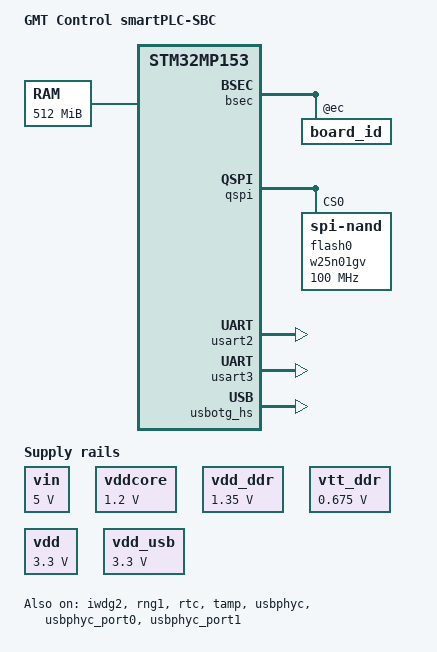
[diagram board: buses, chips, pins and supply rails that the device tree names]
/* SPDX-License-Identifier: (GPL-2.0+ OR BSD-3-Clause) */
/*
 * Copyright (C) STMicroelectronics 2020 - All Rights Reserved
 * Author: STM32CubeMX code generation for STMicroelectronics.
 */

/* For more information on Device Tree configuration, please refer to
 * https://wiki.st.com/stm32mpu/wiki/Category:Device_tree_configuration
 */

/dts-v1/;

#include <dt-bindings/pinctrl/stm32-pinfunc.h>
#include <dt-bindings/clock/stm32mp1-clksrc.h>
#include <dt-bindings/power/stm32mp1-power.h>
#include <dt-bindings/soc/st,stm32-etzpc.h>
#include "stm32mp15xx-plc.dtsi"

#include "stm32mp153.dtsi"
#include "stm32mp15xa.dtsi"
#include "stm32mp15xxab-pinctrl.dtsi"
#include "stm32mp153d-plc-pinctrl.dtsi"
#include "stm32mp15-ddr.dtsi"

/ {
	model = "GMT Control smartPLC-SBC";
	compatible = "st,stm32mp153d-plc", "st,stm32mp153";

	aliases {
		serial0 = &usart3;
		serial1 = &usart2;
	};

	chosen {
		stdout-path = "serial0:115200n8";
	};

	memory@c0000000 {
		device_type = "memory";
		reg = <0xC0000000 0x20000000>;
	};

	clocks {
		clk_hse: clk-hse {
			clock-frequency = <24000000>;
		};

        clk_hsi: clk-hsi {
            clock-frequency = <64000000>;
        };

		clk_lse: clk-lse {
			st,drive = <LSEDRV_MEDIUM_HIGH>;
		};
	};

	vin: vin {
		compatible = "regulator-fixed";
		regulator-name = "vin";
		regulator-min-microvolt = <5000000>;
		regulator-max-microvolt = <5000000>;
		regulator-always-on;
	};

	vddcore: vddcore {
		compatible = "regulator-fixed";
		regulator-name = "vddcore";
		regulator-min-microvolt = <1200000>;
		regulator-max-microvolt = <1200000>;
		regulator-always-on;
		lp-stop {
			regulator-on-in-suspend;
		};
		standby-ddr-sr {
			regulator-off-in-suspend;
		};
		standby-ddr-off {
			regulator-off-in-suspend;
		};
	};

	vdd_ddr: vdd_ddr {
		compatible = "regulator-fixed";
		regulator-name = "vdd_ddr";
		regulator-min-microvolt = <1350000>;
		regulator-max-microvolt = <1350000>;
		regulator-always-on;
		lp-stop {
			regulator-on-in-suspend;
		};
		standby-ddr-sr {
			regulator-on-in-suspend;
		};
		standby-ddr-off {
			regulator-off-in-suspend;
		};
	};

	vtt_ddr: vtt_ddr {
		compatible = "regulator-fixed";
		regulator-name = "vtt_ddr";
		regulator-min-microvolt = <675000>;
		regulator-max-microvolt = <675000>;
		regulator-always-on;
		lp-stop {
			regulator-off-in-suspend;
		};
		standby-ddr-sr {
			regulator-off-in-suspend;
		};
		standby-ddr-off {
			regulator-off-in-suspend;
		};
	};

	vdd: vdd {
		compatible = "regulator-fixed";
		regulator-name = "vdd";
		regulator-min-microvolt = <3300000>;
		regulator-max-microvolt = <3300000>;
		regulator-always-on;
		lp-stop {
			regulator-on-in-suspend;
		};
		standby-ddr-sr {
			regulator-on-in-suspend;
		};
		standby-ddr-off {
			regulator-on-in-suspend;
		};
	};

	vdd_usb: vdd_usb {
		compatible = "regulator-fixed";
		regulator-name = "vdd_usb";
		regulator-min-microvolt = <3300000>;
		regulator-max-microvolt = <3300000>;
		regulator-always-on;
		standby-ddr-sr {
			regulator-on-in-suspend;
		};
		standby-ddr-off {
			regulator-on-in-suspend;
		};
	};
};

&rcc {
	st,hsi-cal;
	st,csi-cal;
	st,cal-sec = <60>;
	st,clksrc = <
		CLK_MPU_PLL1P
		CLK_AXI_PLL2P
		CLK_MCU_PLL3P
		CLK_PLL12_HSE
		CLK_PLL3_HSE
		CLK_PLL4_HSE
		CLK_RTC_LSE
		CLK_MCO1_DISABLED
		CLK_MCO2_DISABLED
	>;

	st,clkdiv = <
		1 /*MPU*/
		0 /*AXI*/
		0 /*MCU*/
		1 /*APB1*/
		1 /*APB2*/
		1 /*APB3*/
		1 /*APB4*/
		2 /*APB5*/
		23 /*RTC*/
		0 /*MCO1*/
		0 /*MCO2*/
	>;

	st,pkcs = <
		CLK_CKPER_HSE
		CLK_FMC_PLL4P
		CLK_QSPI_PLL4P
		CLK_ETH_PLL3Q
		CLK_SDMMC12_PLL4P
		CLK_DSI_DSIPLL
		CLK_STGEN_HSE
		CLK_USBPHY_HSE
		CLK_SPI2S1_PLL4P
		CLK_SPI2S23_PLL4P
		CLK_SPI45_HSI
		CLK_SPI6_HSI
		CLK_I2C46_HSI
		CLK_SDMMC3_DISABLED
		CLK_USBO_USBPHY
		CLK_ADC_CKPER
		CLK_CEC_DISABLED
		CLK_I2C12_HSI
		CLK_I2C35_HSI
		CLK_UART1_HSI
		CLK_UART24_HSI
		CLK_UART35_HSI
		CLK_UART6_HSI
		CLK_UART78_HSI
		CLK_SPDIF_DISABLED
		CLK_FDCAN_PLL4Q
		CLK_SAI1_DISABLED
		CLK_SAI2_DISABLED
		CLK_SAI3_DISABLED
		CLK_SAI4_DISABLED
		CLK_RNG1_LSI
		CLK_RNG2_LSI
		CLK_LPTIM1_DISABLED
		CLK_LPTIM23_DISABLED
		CLK_LPTIM45_DISABLED
	>;

	/* VCO = 1066 MHz => P = 266 (AXI), Q = 533 (GPU), R = 533 (DDR) */
	pll2: st,pll@1 {
		compatible = "st,stm32mp1-pll";
		reg = <1>;
		cfg = <2 65 1 0 0 PQR(1,1,1)>;
		frac = <0x1400>;
	};

	/* VCO = 400 MHz => P = 200, Q = 50, R = 11 */
	pll3: st,pll@2 {
		compatible = "st,stm32mp1-pll";
		reg = <2>;
		cfg = <2 49 1 7 35 PQR(1,1,1)>;
	};

	/* VCO = 600 MHz => P = 100, Q = 75, R = 24 */
	pll4: st,pll@3 {
		compatible = "st,stm32mp1-pll";
		reg = <3>;
		cfg = <1 49 5 7 24 PQR(1,1,1)>;
	};
};

&bsec {
	board_id: board_id@ec {
		reg = <0xec 0x4>;
		st,non-secure-otp;
	};
};

&etzpc{
	st,decprot = <
	/*"Non Secured" peripherals*/
	DECPROT(STM32MP1_ETZPC_DMA1_ID, DECPROT_NS_RW, DECPROT_UNLOCK)
	DECPROT(STM32MP1_ETZPC_DMAMUX_ID, DECPROT_NS_RW, DECPROT_UNLOCK)
	DECPROT(STM32MP1_ETZPC_ETH_ID, DECPROT_NS_RW, DECPROT_UNLOCK)
	DECPROT(STM32MP1_ETZPC_I2C2_ID, DECPROT_NS_RW, DECPROT_UNLOCK)
	DECPROT(STM32MP1_ETZPC_I2C4_ID, DECPROT_NS_RW, DECPROT_UNLOCK)
	DECPROT(STM32MP1_ETZPC_I2C6_ID, DECPROT_NS_RW, DECPROT_UNLOCK)
	DECPROT(STM32MP1_ETZPC_QSPI_ID, DECPROT_NS_RW, DECPROT_UNLOCK)
	DECPROT(STM32MP1_ETZPC_DLYBQ_ID, DECPROT_NS_RW, DECPROT_UNLOCK)
	DECPROT(STM32MP1_ETZPC_RNG1_ID, DECPROT_NS_RW, DECPROT_UNLOCK)
	DECPROT(STM32MP1_ETZPC_USART1_ID, DECPROT_NS_RW, DECPROT_UNLOCK)
	DECPROT(STM32MP1_ETZPC_USART2_ID, DECPROT_NS_RW, DECPROT_UNLOCK)
	DECPROT(STM32MP1_ETZPC_USART3_ID, DECPROT_NS_RW, DECPROT_UNLOCK)
	DECPROT(STM32MP1_ETZPC_OTG_ID, DECPROT_NS_RW, DECPROT_UNLOCK)
	DECPROT(STM32MP1_ETZPC_SPI6_ID, DECPROT_NS_RW, DECPROT_UNLOCK)
	DECPROT(STM32MP1_ETZPC_CRYP1_ID, DECPROT_NS_RW, DECPROT_UNLOCK)
	/*"Secured" peripherals*/
	DECPROT(STM32MP1_ETZPC_DDRCTRL_ID, DECPROT_S_RW, DECPROT_UNLOCK)
	DECPROT(STM32MP1_ETZPC_DDRPHYC_ID, DECPROT_S_RW, DECPROT_UNLOCK)
	DECPROT(STM32MP1_ETZPC_HASH1_ID, DECPROT_S_RW, DECPROT_UNLOCK)
	DECPROT(STM32MP1_ETZPC_STGENC_ID, DECPROT_S_RW, DECPROT_UNLOCK)
	/*"Mcu Isolation" peripherals*/
	DECPROT(STM32MP1_ETZPC_ADC_ID, DECPROT_MCU_ISOLATION, DECPROT_UNLOCK)
	DECPROT(STM32MP1_ETZPC_DMA2_ID, DECPROT_MCU_ISOLATION, DECPROT_UNLOCK)
	DECPROT(STM32MP1_ETZPC_TT_FDCAN_ID, DECPROT_MCU_ISOLATION, DECPROT_UNLOCK)
	DECPROT(STM32MP1_ETZPC_SPI3_ID, DECPROT_MCU_ISOLATION, DECPROT_UNLOCK)
	DECPROT(STM32MP1_ETZPC_SPI4_ID, DECPROT_MCU_ISOLATION, DECPROT_UNLOCK)
	DECPROT(STM32MP1_ETZPC_UART4_ID, DECPROT_MCU_ISOLATION, DECPROT_UNLOCK)
	DECPROT(STM32MP1_ETZPC_UART8_ID, DECPROT_MCU_ISOLATION, DECPROT_UNLOCK)

	/*Restriction: following IDs are not managed  - please to use User-Section if needed:
		STM32MP1_ETZPC_SRAMx_ID, STM32MP1_ETZPC_RETRAM_ID, STM32MP1_ETZPC_BKPSRAM_ID*/

	/* USER CODE BEGIN etzpc_decprot */
		/*STM32CubeMX generates a basic and standard configuration for ETZPC.
		Additional device configurations can be added here if needed.
		"etzpc" node could be also overloaded in "addons" User-Section.*/
	/* USER CODE END etzpc_decprot */
	>;

	secure-status = "okay";
};

&iwdg2 {
	timeout-sec = <32>;
	status = "okay";
	secure-status = "okay";
};

/*
&nvmem_layout {
	nvmem-cells = <&cfg0_otp>,
		      <&part_number_otp>,
		      <&monotonic_otp>,
		      <&nand_otp>,
		      <&uid_otp>,
		      <&package_otp>,
		      <&hw2_otp>,
		      <&pkh_otp>,
		      <&board_id>;

	nvmem-cell-names = "cfg0_otp",
			   "part_number_otp",
			   "monotonic_otp",
			   "nand_otp",
			   "uid_otp",
			   "package_otp",
			   "hw2_otp",
			   "pkh_otp",
			   "board_id";
};
*/
&pwr_regulators {
	system_suspend_supported_soc_modes = <
		STM32_PM_CSLEEP_RUN
	>;
	system_off_soc_mode = <STM32_PM_CSTOP_ALLOW_LPLV_STOP>;
	vdd-supply = <&vdd>;
	vdd_3v3_usbfs-supply = <&vdd_usb>;
};

&cpu0{
	cpu-supply = <&vddcore>;
};

&cpu1{
	cpu-supply = <&vddcore>;
};

&hash1{
	secure-status = "okay";
};

&qspi {                                                    
	pinctrl-names = "default";
	pinctrl-0 = <&qspi_clk_pins_default &qspi_bk1_pins_default &qspi_bk2_pins_default>;
	reg = <0x58003000 0x1000>, <0x70000000 0x8000000>;
	#address-cells = <1>;
	#size-cells = <0>;
	status = "okay";

	flash0: w25n01gv@0 {                             
		compatible = "spi-nand";
		reg = <0>;
		spi-rx-bus-width = <4>;
		spi-tx-bus-width = <4>;
		spi-max-frequency = <100000000>;
		#address-cells = <1>;
		#size-cells = <1>;
	};
};

&usart2 {
	pinctrl-names = "default";
	pinctrl-0 = <&usart2_pins_default>;
	status = "okay";
};

&usart3 {
	pinctrl-names = "default";
	pinctrl-0 = <&usart3_pins_default>;
	status = "okay";
};

&rng1{
	status = "okay";
	secure-status = "okay";
};

&rtc{
	status = "okay";
	secure-status = "okay";
};

&tamp{
	status = "okay";
	secure-status = "okay";
};

&timers15 {
	secure-status = "okay";
	st,hsi-cal-input = <7>;
	st,csi-cal-input = <8>;
};

&usbotg_hs{
	pinctrl-names = "default";
	pinctrl-0 = <&usb_otg_hs_pins_default>;
	status = "okay";
};

&usbphyc{
	status = "okay";
};

&usbphyc_port0{
	status = "okay";
};

&usbphyc_port1{
	status = "okay";
};
